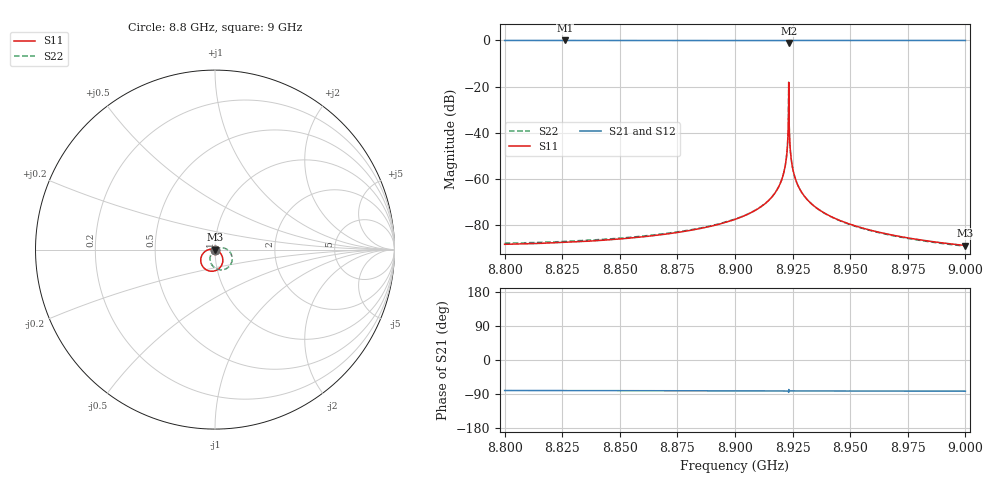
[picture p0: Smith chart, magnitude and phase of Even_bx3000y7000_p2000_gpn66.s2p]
! Sonnet Data File
! From: emgraph Version : 16.52
! From Project: Resonator2_cp_cp
! Data is De-embedded
! Data File Written: 10/06/2017 09:20:31
!< HDATE 10/05/2017 21:11:40
!< MDATE 10/05/2017 21:11:40
!< PARAMS
!< gap = 66.0
!< Length = 400.0
!< Pwid1 = 2000.0
!< Pwid2 = 2000.0
!< END PARAMS
# GHZ S MA R 51.80000
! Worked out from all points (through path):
!   1595 points, 8.8 GHz to 9 GHz, reference 51.8 ohm
!   highest |S21| = 0.00 dB at 8.8262 GHz (marker M1); lowest = -1.1 dB at 8.9233 GHz (marker M2)
!   group delay of S21, straight-line fit = 25.1 ps
!   lowest |S11| = -88.9 dB at 9 GHz (marker M3), VSWR 1.00, Z = 51.8 + j0.000648 ohm
!   |S11| at or under -10 dB: start of sweep to end of sweep
!   |S22| runs from -89.2 to -18.2 dB; largest |S21 - S12| = 0
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8.8  3.792e-05 -14.2  1 -80.5  1 -80.5  3.997e-05 39.2
!< P1 F=8.8 Eeff=(6.44679989 -2.9721e-5) Z0=(51.7992624 1.19519e-4) R=0.0 C=0.0
!< P2 F=8.8 Eeff=(6.44679989 -2.9721e-5) Z0=(51.7992624 1.19519e-4) R=0.0 C=0.0
8.8262  4.17e-05 -16.4  1 -80.7  1 -80.7  4.38e-05 40.3
8.8334  4.348e-05 -16.8  1 -80.8  1 -80.8  4.559e-05 40.3
8.8668  6.02e-05 -18.0  1 -81.1  1 -81.1  6.23e-05 39.5
8.9  0.0001316 -17.8  1 -81.4  1 -81.4  0.0001336 36.6
8.913397  0.0002986 -17.4  1 -81.5  1 -81.5  0.0003005 34.9
8.92  0.0008776 -17.4  1 -81.6  1 -81.6  0.0008795 33.7
8.9216  0.001686 -17.8  1 -81.7  1 -81.7  0.001688 33.1
8.92259  0.003957 -18.8  0.9999 -81.8  0.9999 -81.8  0.003958 31.9
8.923112  0.01365 -23.3  0.9986 -82.4  0.9986 -82.4  0.01365 27.4
8.923234  0.03157 -31.8  0.9924 -83.4  0.9924 -83.4  0.03157 18.9
8.923322  0.1233 -106.9  0.8767 -81.6  0.8767 -81.6  0.1233 -56.3
8.9234  0.03565 179.9  0.9903 -79.7  0.9903 -79.7  0.03565 -129.5
8.923456  0.0211 173.0  0.9966 -80.4  0.9966 -80.4  0.0211 -136.4
8.923716  0.007321 166.5  0.9996 -81.2  0.9996 -81.2  0.007318 -143.0
8.924218  0.003225 164.6  0.9999 -81.5  0.9999 -81.5  0.003223 -144.9
8.925018  0.001701 163.9  1 -81.5  1 -81.5  0.001698 -145.8
8.9282  0.0005868 163.6  1 -81.6  1 -81.6  0.0005848 -146.8
8.9334  0.0002809 163.7  1 -81.7  1 -81.7  0.000279 -147.7
8.949193  0.0001065 164.6  1 -81.8  1 -81.8  0.0001047 -150.5
8.9668  6.231e-05 166.1  1 -82.0  1 -82.0  6.075e-05 -154.1
9  3.569e-05 169.9  1 -82.3  1 -82.3  3.456e-05 -161.7
